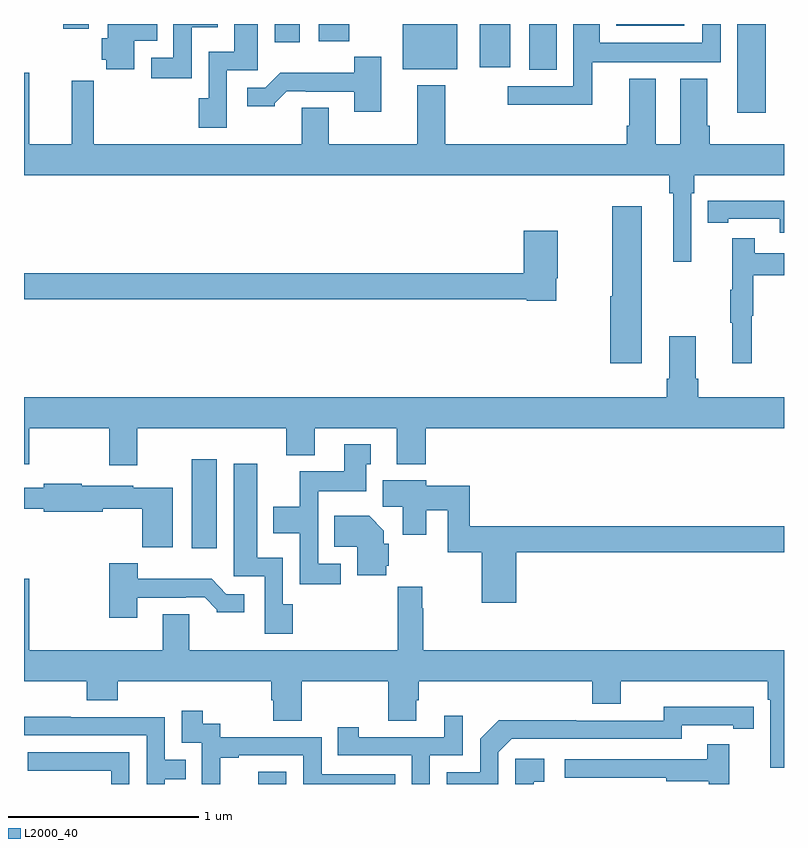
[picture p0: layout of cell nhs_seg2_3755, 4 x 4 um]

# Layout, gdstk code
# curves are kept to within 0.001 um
import gdstk
lib = gdstk.Library(unit=1e-6, precision=1e-09)
def R(c, l, rs):  # rectangles x0, y0, x1, y1
    for r in rs: c.add(gdstk.rectangle(r[:2], r[2:], *l))
def P(c, l, *ps):  # polygons
    for p in ps: c.add(gdstk.Polygon(p, *l))
L2000_40 = (2000, 40)

nhs_seg2_3755 = lib.new_cell('nhs_seg2_3755')
R(nhs_seg2_3755, L2000_40, [(310.233,609.8,310.38,609.865), (309.884,611.04,310.015,611.509), (312.755,613.332,312.905,613.8), (311.66,613.558,311.803,613.8), (310.994,613.562,311.281,613.8), (311.399,613.572,311.56,613.8), (310.319,613.704,310.45,613.8), (310.55,613.709,310.712,613.8), (309.206,613.776,309.34,613.8), (312.116,613.79,312.475,613.8)])
P(nhs_seg2_3755, L2000_40, [(309.58,613.712),(309.701,613.712),(309.701,613.8),(309.442,613.8),(309.44,613.798),(309.44,613.725),(309.41,613.725),(309.41,613.611),(309.433,613.611),(309.433,613.562),(309.58,613.562)],
  [(311.99,613.598),(312.666,613.598),(312.666,613.8),(312.57,613.8),(312.57,613.702),(312.031,613.702),(312.031,613.8),(311.891,613.8),(311.891,613.473),(311.547,613.473),(311.547,613.376),(311.99,613.376)],
  [(309.882,613.784),(310.021,613.784),(310.021,613.8),(309.786,613.8),(309.786,613.623),(309.669,613.623),(309.669,613.515),(309.882,613.515)],
  [(310.068,613.557),(310.231,613.557),(310.231,613.8),(310.106,613.8),(310.106,613.654),(309.972,613.654),(309.972,613.41),(309.92,613.41),(309.92,613.254),(310.068,613.254)],
  [(310.879,613.627),(310.737,613.627),(310.737,613.543),(310.348,613.543),(310.269,613.464),(310.176,613.464),(310.176,613.367),(310.32,613.367),(310.32,613.382),(310.384,613.446),(310.483,613.446),(310.483,613.443),(310.739,613.443),(310.739,613.338),(310.879,613.338)],
  [(312.513,612.908),(312.527,612.908),(312.527,613.004),(313,613.004),(313,613.168),(312.608,613.168),(312.608,613.264),(312.595,613.264),(312.595,613.513),(312.455,613.513),(312.455,613.168),(312.325,613.168),(312.325,613.513),(312.185,613.513),(312.185,613.264),(312.173,613.264),(312.173,613.168),(311.217,613.168),(311.217,613.477),(311.069,613.477),(311.069,613.168),(310.603,613.168),(310.603,613.358),(310.463,613.358),(310.463,613.168),(309.368,613.168),(309.368,613.501),(309.25,613.501),(309.25,613.168),(309.028,613.168),(309.028,613.543),(309,613.543),(309,613.004),(312.397,613.004),(312.397,612.908),(312.416,612.908),(312.416,612.549),(312.513,612.549)],
  [(313,612.871),(312.706,612.871),(312.706,612.87),(312.598,612.87),(312.598,612.754),(312.706,612.754),(312.706,612.774),(312.978,612.774),(312.978,612.702),(313,612.702)],
  [(312.25,612.841),(312.097,612.841),(312.097,612.366),(312.086,612.366),(312.086,612.014),(312.25,612.014)],
  [(311.8,612.463),(311.808,612.463),(311.808,612.712),(311.63,612.712),(311.63,612.488),(309,612.488),(309,612.352),(311.646,612.352),(311.646,612.344),(311.8,612.344)],
  [(312.83,612.264),(312.838,612.264),(312.838,612.478),(313,612.478),(313,612.594),(312.845,612.594),(312.845,612.673),(312.728,612.673),(312.728,612.401),(312.717,612.401),(312.717,612.227),(312.728,612.227),(312.728,612.015),(312.83,612.015)],
  [(309,611.484),(309.028,611.484),(309.028,611.672),(309.448,611.672),(309.448,611.478),(309.595,611.478),(309.595,611.672),(310.379,611.672),(310.379,611.531),(310.531,611.531),(310.531,611.672),(310.961,611.672),(310.961,611.483),(311.114,611.483),(311.114,611.672),(313,611.672),(313,611.836),(312.548,611.836),(312.548,611.932),(312.535,611.932),(312.535,612.157),(312.395,612.157),(312.395,611.932),(312.383,611.932),(312.383,611.836),(309,611.836)],
  [(310.666,610.959),(310.548,610.959),(310.548,611.342),(310.801,611.342),(310.801,611.484),(310.825,611.484),(310.825,611.587),(310.685,611.587),(310.685,611.446),(310.45,611.446),(310.45,611.26),(310.313,611.26),(310.313,611.12),(310.452,611.12),(310.452,610.851),(310.666,610.851)],
  [(310.415,610.746),(310.362,610.746),(310.362,610.99),(310.228,610.99),(310.228,611.485),(310.103,611.485),(310.103,610.893),(310.266,610.893),(310.266,610.59),(310.415,610.59)],
  [(311.591,611.02),(313,611.02),(313,611.156),(311.345,611.156),(311.345,611.371),(311.116,611.371),(311.116,611.398),(310.889,611.398),(310.889,611.26),(310.994,611.26),(310.994,611.112),(311.116,611.112),(311.116,611.242),(311.229,611.242),(311.229,611.02),(311.408,611.02),(311.408,610.755),(311.591,610.755)],
  [(309.784,611.359),(309.576,611.359),(309.576,611.371),(309.304,611.371),(309.304,611.379),(309.104,611.379),(309.104,611.358),(309,611.358),(309,611.25),(309.104,611.25),(309.104,611.234),(309.414,611.234),(309.414,611.249),(309.622,611.249),(309.622,611.045),(309.784,611.045)],
  [(310.907,610.95),(310.92,610.95),(310.92,611.064),(310.894,611.064),(310.894,611.134),(310.816,611.212),(310.633,611.212),(310.633,611.048),(310.754,611.048),(310.754,610.898),(310.907,610.898)],
  [(309.595,610.779),(309.851,610.779),(309.851,610.782),(309.95,610.782),(310.014,610.718),(310.014,610.703),(310.159,610.703),(310.159,610.8),(310.065,610.8),(309.987,610.879),(309.598,610.879),(309.598,610.963),(309.448,610.963),(309.448,610.674),(309.595,610.674)],
  [(313,610.504),(311.102,610.504),(311.102,610.724),(311.095,610.724),(311.095,610.837),(310.966,610.837),(310.966,610.504),(309.871,610.504),(309.871,610.694),(309.731,610.694),(309.731,610.504),(309.028,610.504),(309.028,610.879),(309,610.879),(309,610.34),(309.329,610.34),(309.329,610.241),(309.494,610.241),(309.494,610.34),(310.301,610.34),(310.301,610.242),(310.313,610.242),(310.313,610.132),(310.461,610.132),(310.461,610.34),(310.918,610.34),(310.918,610.132),(311.065,610.132),(311.065,610.242),(311.078,610.242),(311.078,610.34),(311.99,610.34),(311.99,610.223),(312.142,610.223),(312.142,610.34),(312.914,610.34),(312.914,610.244),(312.927,610.244),(312.927,609.885),(313,609.885)],
  [(311.496,609.966),(311.568,610.038),(312.462,610.038),(312.462,610.11),(312.734,610.11),(312.734,610.09),(312.842,610.09),(312.842,610.206),(312.366,610.207),(312.366,610.134),(311.906,610.134),(311.906,610.136),(311.498,610.136),(311.4,610.038),(311.4,609.861),(311.226,609.861),(311.226,609.8),(311.496,609.8)],
  [(310.034,609.939),(310.129,609.939),(310.129,609.951),(310.47,609.951),(310.47,609.8),(310.955,609.8),(310.955,609.852),(310.566,609.852),(310.566,610.047),(310.032,610.047),(310.032,610.116),(309.94,610.116),(309.94,610.186),(309.831,610.186),(309.831,610.017),(309.936,610.017),(309.936,609.8),(310.034,609.8)],
  [(311.136,609.951),(311.31,609.951),(311.31,610.159),(311.213,610.159),(311.213,610.047),(310.762,610.047),(310.762,610.099),(310.651,610.099),(310.651,609.951),(311.04,609.951),(311.04,609.8),(311.136,609.8)],
  [(309.741,609.826),(309.851,609.826),(309.851,609.927),(309.741,609.927),(309.741,610.152),(309.245,610.152),(309.245,610.154),(309,610.154),(309,610.056),(309.645,610.056),(309.645,609.8),(309.741,609.8)],
  [(312.713,610.009),(312.595,610.009),(312.595,609.93),(311.847,609.93),(311.847,609.834),(312.379,609.834),(312.379,609.814),(312.603,609.814),(312.603,609.8),(312.713,609.8)],
  [(309.555,609.966),(309.021,609.966),(309.021,609.87),(309.459,609.87),(309.459,609.8),(309.555,609.8)],
  [(311.682,609.813),(311.737,609.813),(311.737,609.934),(311.586,609.934),(311.586,609.8),(311.682,609.8)])

lib.write_gds('nhs_seg2_3755.gds')
